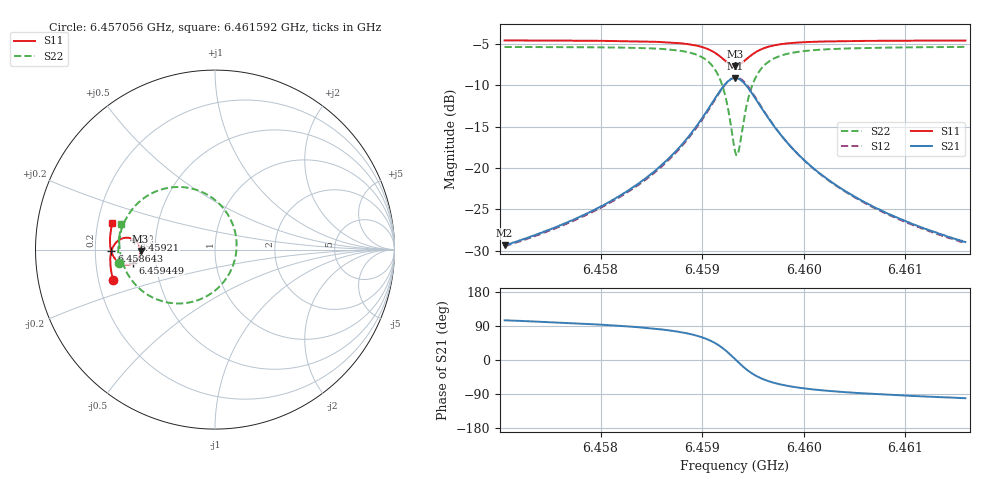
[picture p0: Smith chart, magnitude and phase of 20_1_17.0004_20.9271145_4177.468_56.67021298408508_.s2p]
#  HZ  S  RI  R  50.00
! Rohde & Schwarz Vector Network Analyzer
! Rohde-Schwarz,ZNB20-2Port,1311601062101988,3.16
! Created: UTC 3/20/2024, 10:52:56 PM
! freq[Hz]  re:S11  im:S11  re:S21  im:S21  re:S12  im:S12  re:S22  im:S22
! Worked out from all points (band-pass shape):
!   401 points, 6.457056 GHz to 6.461592 GHz, reference 50 ohm
!   highest |S21| = -9.10 dB at 6.459324 GHz (marker M1); lowest = -29.4 dB at 6.457056 GHz (marker M2)
!   |S21| within 3 dB of the highest: 6.459099 GHz to 6.459552 GHz (453.5 kHz wide, 0.00702 % of centre)
!   lowest |S11| = -7.6 dB at 6.459324 GHz (marker M3), VSWR 2.42, Z = 20.7 - j0.387 ohm
!   |S11| at or under -10 dB: nowhere
!   |S22| runs from -18.4 to -5.3 dB; largest |S21 - S12| = 0.014
!   S11 on the Smith chart (normalised r, x): 6.457056 GHz: 0.26, -0.13; 6.458643 GHz: 0.27, -0.01; 6.45921 GHz: 0.38, +0.05; 6.459449 GHz: 0.37, -0.07; 6.461592 GHz: 0.26, +0.12
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6.4570559e9  -0.5676 -0.1676  -0.0086 0.0329  -0.00695 0.033  -0.5345 -0.0773
6.4578157e9  -0.581 -0.101  -0.00519 0.0512  -0.00267 0.0505  -0.5386 0.0125
6.4582579e9  -0.5835 -0.0561  0.00148 0.0721  0.00482 0.0707  -0.5286 0.0841
6.4585755e9  -0.5794 -0.0176  0.0152 0.0999  0.0191 0.0969  -0.5033 0.1573
6.4586435e9  -0.5772 -0.00816  0.0205 0.1083  0.0246 0.1051  -0.493 0.1774
6.4588363e9  -0.5643 0.0223  0.0474 0.1393  0.0514 0.1344  -0.4423 0.2464
6.4589837e9  -0.5415 0.0485  0.0931 0.1698  0.0963 0.1631  -0.3581 0.3105
6.4591198e9  -0.4972 0.0662  0.181 0.1865  0.1817 0.1792  -0.198 0.3489
6.4592105e9  -0.4521 0.056  0.2716 0.1554  0.2716 0.1498  -0.0304 0.2983
6.4592785e9  -0.4223 0.0236  0.3332 0.0831  0.3352 0.0783  0.0866 0.1683
6.4593239e9  -0.4149 -0.00776  0.3503 0.0145  0.354 0.00795  0.1202 0.0401
6.4593579e9  -0.4186 -0.032  0.3447 -0.0388  0.3489 -0.0476  0.1093 -0.061
6.4594032e9  -0.4343 -0.0587  0.3161 -0.0999  0.3186 -0.1117  0.0511 -0.1765
6.4594486e9  -0.4566 -0.0758  0.2735 -0.1421  0.2729 -0.1553  -0.0352 -0.2531
6.459494e9  -0.4798 -0.083  0.228 -0.1651  0.2246 -0.178  -0.1261 -0.2909
6.4595393e9  -0.5007 -0.0833  0.1868 -0.1739  0.1809 -0.1856  -0.2075 -0.3004
6.4596867e9  -0.5455 -0.0627  0.0972 -0.1596  0.0888 -0.1659  -0.3783 -0.2497
6.4598455e9  -0.5676 -0.035  0.0515 -0.131  0.0438 -0.1338  -0.4597 -0.1758
6.4600836e9  -0.5805 0.000631  0.0222 -0.0988  0.0163 -0.0994  -0.5079 -0.0923
6.4604352e9  -0.5852 0.0427  0.00576 -0.0708  0.00169 -0.0703  -0.5295 -0.0103
6.4608434e9  -0.5834 0.0839  -0.00173 -0.0525  -0.00448 -0.0517  -0.533 0.0557
6.4615918e9  -0.5714 0.1504  -0.0067 -0.0351  -0.00835 -0.0341  -0.5213 0.145
